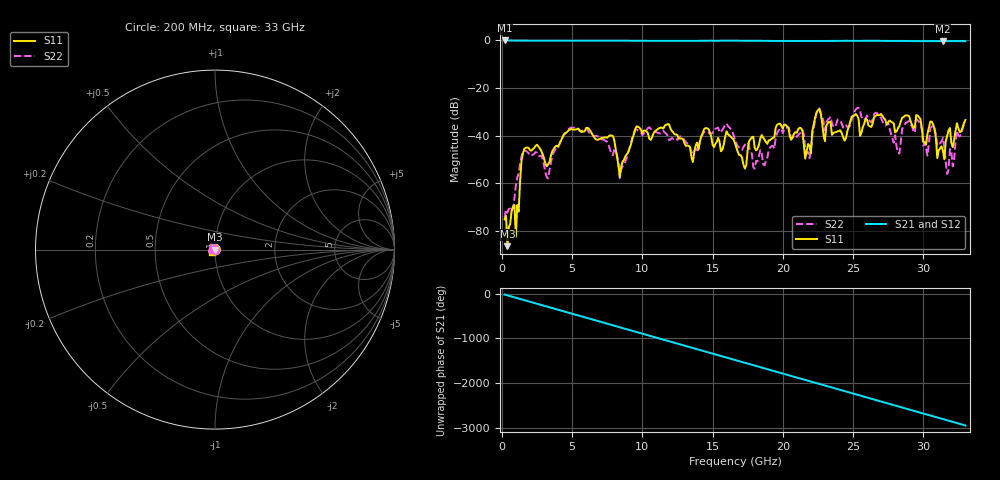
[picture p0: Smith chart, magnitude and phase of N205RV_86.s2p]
# GHZ S RI R 50
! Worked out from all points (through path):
!   329 points, 200 MHz to 33 GHz, reference 50 ohm
!   highest |S21| = -0.02 dB at 200 MHz (marker M1); lowest = -0.4 dB at 31.4 GHz (marker M2)
!   group delay of S21, straight-line fit = 248 ps
!   lowest |S11| = -86.3 dB at 400 MHz (marker M3), VSWR 1.00, Z = 50 + j0.00355 ohm
!   |S11| at or under -10 dB: start of sweep to end of sweep
!   |S22| runs from -74.5 to -28.3 dB; largest |S21 - S12| = 0.0019
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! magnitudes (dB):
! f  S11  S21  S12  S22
! 200 MHz  -75.1  0.0  0.0  -74.5
! 400 MHz  -86.3  0.0  0.0  -72.3
! 900 MHz  -69.1  0.0  0.0  -66.2
! 1 GHz  -82.3  0.0  0.0  -61.0
! 1.6 GHz  -45.5  -0.1  -0.1  -46.1
! 3.3 GHz  -52.1  -0.1  -0.1  -57.9
! 5.7 GHz  -38.4  -0.1  -0.1  -37.9
! 7.9 GHz  -40.0  -0.1  -0.1  -48.2
! 8.4 GHz  -57.3  -0.1  -0.1  -57.7
! 9.5 GHz  -37.2  -0.2  -0.2  -37.7
! 11.2 GHz  -36.8  -0.2  -0.2  -38.9
! 13.6 GHz  -51.1  -0.2  -0.2  -47.6
! 14.5 GHz  -36.8  -0.1  -0.1  -38.6
! 16.6 GHz  -43.2  -0.1  -0.1  -41.6
! 18 GHz  -45.0  -0.2  -0.2  -53.8
! 22.1 GHz  -38.2  -0.3  -0.3  -39.8
! 22.6 GHz  -28.8  -0.2  -0.2  -28.5
! 23 GHz  -42.3  -0.3  -0.3  -37.7
! 27.6 GHz  -33.6  -0.2  -0.2  -36.9
! 31.4 GHz  -46.2  -0.4  -0.4  -40.9
! 31.7 GHz  -40.1  -0.3  -0.3  -56.0
! 33 GHz  -33.4  -0.3  -0.3  -34.2
